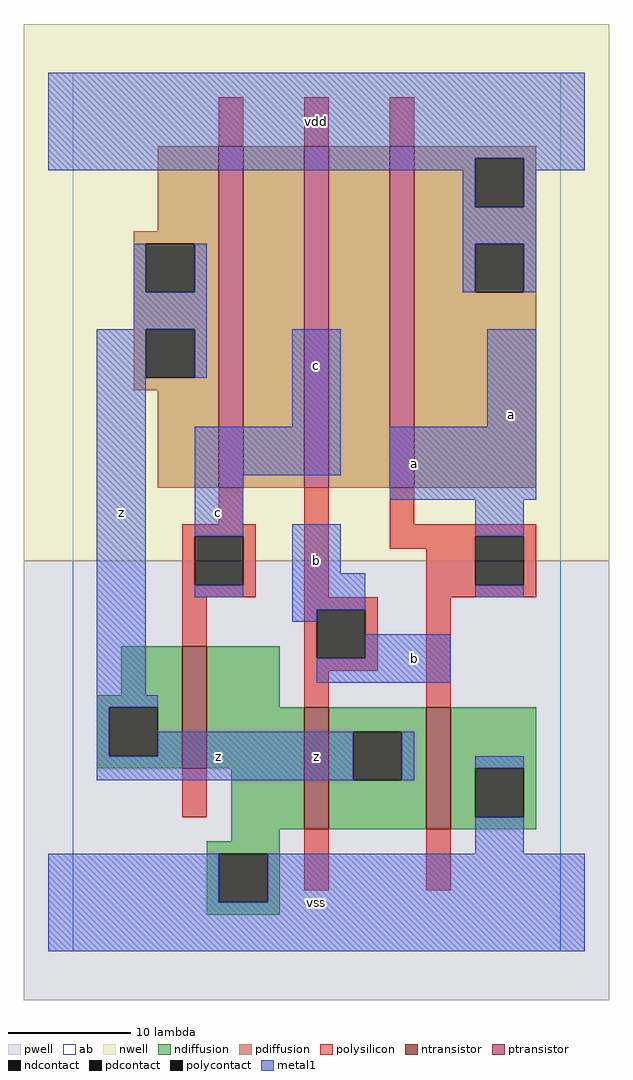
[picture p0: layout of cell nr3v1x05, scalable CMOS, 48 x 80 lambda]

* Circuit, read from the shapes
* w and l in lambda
.subckt nr3v1x05 a b c vdd vss z
M1 vss c z VSUBS nfet w=10 l=2
M2 z b vss VSUBS nfet w=10 l=2
M3 vss a z VSUBS nfet w=10 l=2
M4 n1 c z n2 pfet w=28 l=2
M5 n3 b n1 n2 pfet w=28 l=2
M6 vdd a n3 n2 pfet w=28 l=2
.ends

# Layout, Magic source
magic
tech scmos
<< ab >>
rect 0 0 40 72
<< pwell >>
rect -4 -4 44 32
<< nwell >>
rect -4 32 44 76
<< polysilicon >>
rect 12 66 14 70
rect 19 66 21 70
rect 26 66 28 70
rect 12 35 14 38
rect 9 34 15 35
rect 9 30 10 34
rect 14 30 15 34
rect 9 29 15 30
rect 19 29 21 38
rect 26 35 28 38
rect 26 34 38 35
rect 26 33 33 34
rect 29 30 33 33
rect 37 30 38 34
rect 29 29 38 30
rect 9 25 11 29
rect 19 28 25 29
rect 19 24 20 28
rect 24 24 25 28
rect 19 23 25 24
rect 19 20 21 23
rect 29 20 31 29
rect 9 11 11 15
rect 19 5 21 10
rect 29 5 31 10
<< ndiffusion >>
rect 4 21 9 25
rect 2 20 9 21
rect 2 16 3 20
rect 7 16 9 20
rect 2 15 9 16
rect 11 20 17 25
rect 11 15 19 20
rect 13 10 19 15
rect 21 18 29 20
rect 21 14 23 18
rect 27 14 29 18
rect 21 10 29 14
rect 31 15 38 20
rect 31 11 33 15
rect 37 11 38 15
rect 31 10 38 11
rect 13 9 17 10
rect 11 8 17 9
rect 11 4 12 8
rect 16 4 17 8
rect 11 3 17 4
<< pdiffusion >>
rect 7 59 12 66
rect 5 58 12 59
rect 5 54 6 58
rect 10 54 12 58
rect 5 51 12 54
rect 5 47 6 51
rect 10 47 12 51
rect 5 46 12 47
rect 7 38 12 46
rect 14 38 19 66
rect 21 38 26 66
rect 28 65 38 66
rect 28 61 33 65
rect 37 61 38 65
rect 28 58 38 61
rect 28 54 33 58
rect 37 54 38 58
rect 28 38 38 54
<< metal1 >>
rect -2 65 42 72
rect -2 64 33 65
rect 32 61 33 64
rect 37 64 42 65
rect 37 61 38 64
rect 32 58 38 61
rect 5 54 6 58
rect 10 54 11 58
rect 32 54 33 58
rect 37 54 38 58
rect 5 51 11 54
rect 2 21 6 51
rect 10 47 11 51
rect 18 43 22 51
rect 34 43 38 51
rect 10 39 22 43
rect 10 34 14 39
rect 26 37 38 43
rect 10 29 14 30
rect 18 31 22 35
rect 33 34 37 37
rect 18 28 24 31
rect 33 29 37 30
rect 18 27 20 28
rect 24 24 31 26
rect 20 22 31 24
rect 2 20 7 21
rect 2 16 3 20
rect 7 16 23 18
rect 2 14 23 16
rect 27 14 28 18
rect 33 15 37 16
rect 33 8 37 11
rect -2 4 12 8
rect 16 4 42 8
rect -2 0 42 4
<< ntransistor >>
rect 9 15 11 25
rect 19 10 21 20
rect 29 10 31 20
<< ptransistor >>
rect 12 38 14 66
rect 19 38 21 66
rect 26 38 28 66
<< polycontact >>
rect 10 30 14 34
rect 33 30 37 34
rect 20 24 24 28
<< ndcontact >>
rect 3 16 7 20
rect 23 14 27 18
rect 33 11 37 15
rect 12 4 16 8
<< pdcontact >>
rect 6 54 10 58
rect 6 47 10 51
rect 33 61 37 65
rect 33 54 37 58
<< labels >>
rlabel metal1 4 36 4 36 6 z
rlabel metal1 12 16 12 16 6 z
rlabel metal1 12 36 12 36 6 c
rlabel metal1 20 4 20 4 6 vss
rlabel metal1 20 4 20 4 6 vss
rlabel metal1 20 16 20 16 6 z
rlabel metal1 20 32 20 32 6 b
rlabel metal1 28 24 28 24 6 b
rlabel metal1 28 40 28 40 6 a
rlabel metal1 20 48 20 48 6 c
rlabel metal1 20 68 20 68 6 vdd
rlabel metal1 20 68 20 68 6 vdd
rlabel metal1 36 44 36 44 6 a
<< end >>
